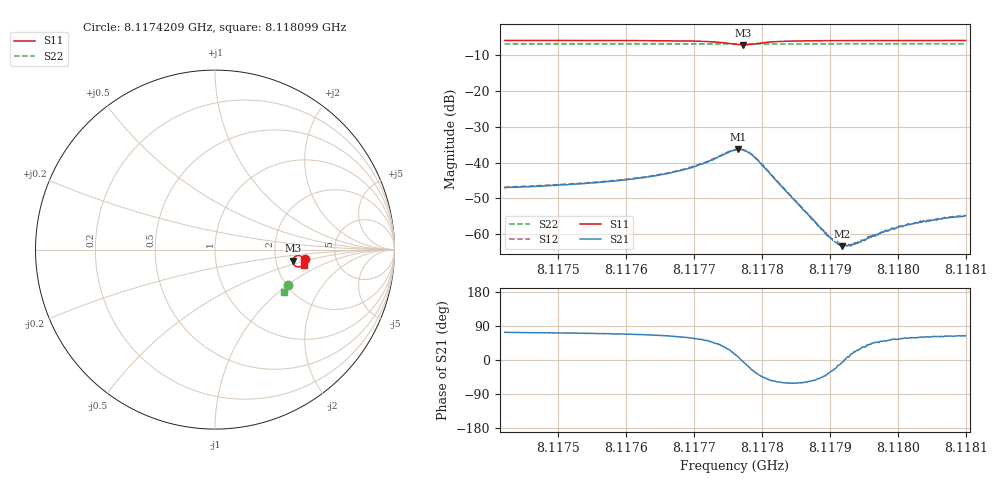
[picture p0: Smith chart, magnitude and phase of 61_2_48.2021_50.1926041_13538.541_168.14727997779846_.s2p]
#  HZ  S  RI  R  50.00
! Rohde & Schwarz Vector Network Analyzer
! Rohde-Schwarz,ZNB20-2Port,1311601062101988,3.16
! Created: UTC 3/20/2024, 11:38:46 AM
! freq[Hz]  re:S11  im:S11  re:S21  im:S21  re:S12  im:S12  re:S22  im:S22
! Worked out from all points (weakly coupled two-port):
!   401 points, 8.1174209 GHz to 8.118099 GHz, reference 50 ohm
!   highest |S21| = -36.32 dB at 8.117765 GHz (marker M1); lowest = -63.3 dB at 8.1179176 GHz (marker M2)
!   lowest |S11| = -7.2 dB at 8.1177718 GHz (marker M3), VSWR 2.56, Z = 124 - j19 ohm
!   |S11| at or under -10 dB: nowhere
!   |S22| runs from -6.9 to -6.9 dB; largest |S21 - S12| = 0.00045
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8.11742086e9  0.5026 -0.0509  0.0013 0.00427  0.00139 0.00431  0.4066 -0.1969
8.11753446e9  0.5006 -0.0621  0.00166 0.00477  0.00175 0.00485  0.4036 -0.2043
8.11759888e9  0.4985 -0.0697  0.00214 0.00532  0.00223 0.00543  0.4016 -0.2085
8.11764805e9  0.4954 -0.0772  0.00282 0.00606  0.00294 0.00612  0.3998 -0.2118
8.11769891e9  0.4873 -0.088  0.00471 0.00731  0.00488 0.0074  0.3979 -0.2152
8.1177396e9  0.4638 -0.0967  0.00981 0.00764  0.01 0.00777  0.3956 -0.2176
8.11775995e9  0.4395 -0.0837  0.0144 0.0039  0.0147 0.00382  0.394 -0.2179
8.11776504e9  0.4352 -0.0752  0.0152 0.00196  0.0153 0.0018  0.3939 -0.2179
8.11777182e9  0.4335 -0.0617  0.0149 -0.00113  0.0151 -0.00126  0.3938 -0.2177
8.11778199e9  0.442 -0.0432  0.0125 -0.00475  0.0126 -0.00499  0.3941 -0.2176
8.11779216e9  0.4569 -0.0342  0.00896 -0.00641  0.00903 -0.00665  0.3945 -0.218
8.11782268e9  0.4862 -0.041  0.00285 -0.00452  0.00288 -0.0046  0.3948 -0.2204
8.11787355e9  0.4971 -0.0582  0.000918 -0.00131  0.000921 -0.00136  0.3934 -0.2244
8.11789898e9  0.4981 -0.0636  0.000772 -0.000505  0.000794 -0.000525  0.3927 -0.226
8.11791085e9  0.4985 -0.0659  0.000714 -0.000194  0.000771 -0.000246  0.3922 -0.2268
8.11791763e9  0.4985 -0.067  0.000678 -7.18e-05  0.000706 -7.97e-05  0.3921 -0.2273
8.1179295e9  0.4985 -0.0689  0.00067 0.000169  0.000678 0.000146  0.3917 -0.2279
8.11795662e9  0.4985 -0.0729  0.00068 0.00056  0.000729 0.000578  0.3907 -0.2298
8.11798714e9  0.4984 -0.0766  0.000697 0.0009  0.000708 0.000943  0.3899 -0.2318
8.11801257e9  0.4982 -0.0795  0.000716 0.00115  0.000714 0.00114  0.389 -0.2334
8.11803631e9  0.4979 -0.082  0.00074 0.0013  0.000748 0.00135  0.3881 -0.2348
8.11809904e9  0.4971 -0.0881  0.000792 0.00163  0.00082 0.00162  0.386 -0.2388
